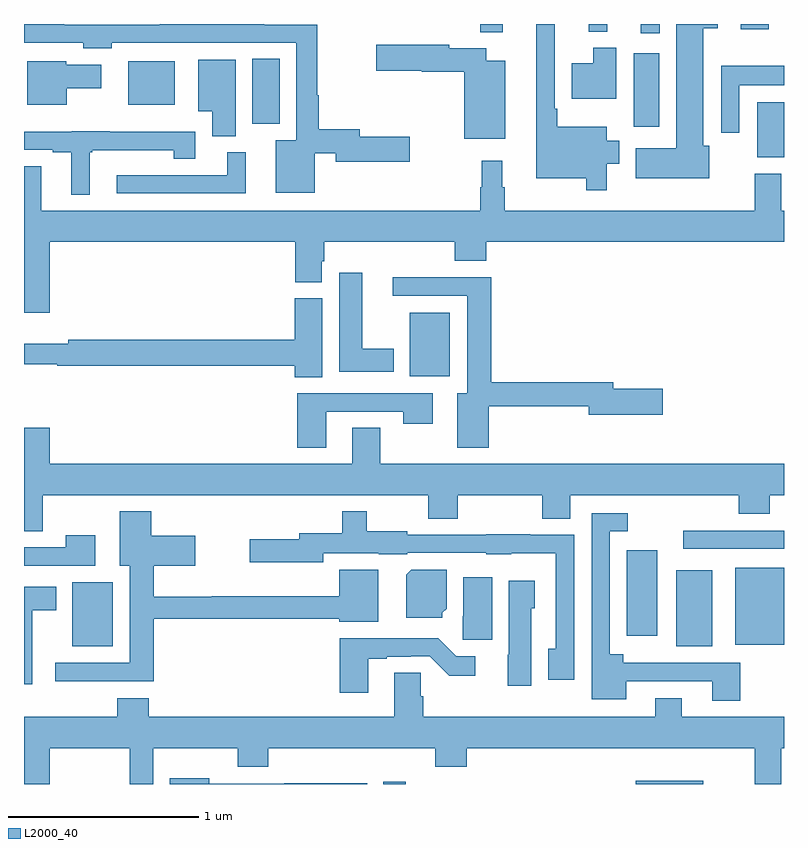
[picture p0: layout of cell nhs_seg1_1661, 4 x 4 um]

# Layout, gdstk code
import gdstk
lib = gdstk.Library(unit=1e-6, precision=1e-09)
def R(c, l, rs):  # rectangles x0, y0, x1, y1
    for r in rs: c.add(gdstk.rectangle(r[:2], r[2:], *l))
def P(c, l, *ps):  # polygons
    for p in ps: c.add(gdstk.Polygon(p, *l))
L2000_40 = (2000, 40)

nhs_seg1_1661 = lib.new_cell('nhs_seg1_1661')
R(nhs_seg1_1661, L2000_40, [(202.892,562.199,203.01,562.21), (204.219,562.199,204.574,562.216), (201.254,562.925,201.466,563.26), (204.434,562.925,204.622,563.323), (204.743,562.931,205,563.338), (204.173,562.98,204.334,563.428), (204.471,563.436,205,563.532), (203.03,564.344,203.242,564.679), (204.86,565.499,205,565.786), (204.209,565.659,204.343,566.044), (202.202,565.673,202.345,566.015), (201.548,565.775,201.793,566.002), (204.245,566.151,204.346,566.199), (203.401,566.156,203.519,566.199), (203.972,566.159,204.07,566.199), (204.773,566.172,204.921,566.199)])
P(nhs_seg1_1661, L2000_40, [(204.067,565.463),(204.133,565.463),(204.133,565.585),(204.067,565.585),(204.067,565.657),(203.806,565.657),(203.806,565.753),(203.793,565.753),(203.793,566.199),(203.696,566.199),(203.696,565.388),(203.958,565.388),(203.958,565.323),(204.067,565.323)],
  [(204.607,565.559),(204.574,565.559),(204.574,566.177),(204.652,566.177),(204.652,566.199),(204.434,566.199),(204.434,565.546),(204.219,565.546),(204.219,565.388),(204.607,565.388)],
  [(202.531,565.518),(202.64,565.518),(202.64,565.475),(203.029,565.475),(203.029,565.605),(202.768,565.605),(202.768,565.646),(202.55,565.646),(202.55,565.823),(202.543,565.823),(202.543,566.196),(202.265,566.196),(202.265,566.198),(201.715,566.198),(201.715,566.196),(201.212,566.196),(201.212,566.198),(201,566.198),(201,566.1),(201.312,566.1),(201.312,566.072),(201.462,566.072),(201.462,566.1),(202.434,566.1),(202.434,565.588),(202.325,565.588),(202.325,565.31),(202.531,565.31)],
  [(203.533,566.005),(203.434,566.005),(203.434,566.071),(203.238,566.071),(203.238,566.091),(202.854,566.091),(202.854,565.954),(203.094,565.954),(203.094,565.949),(203.318,565.949),(203.318,565.595),(203.533,565.595)],
  [(204.118,566.074),(203.996,566.074),(203.996,565.993),(203.882,565.993),(203.882,565.805),(204.118,565.805)],
  [(202.114,566.011),(201.917,566.011),(201.917,565.739),(201.992,565.739),(201.992,565.609),(202.114,565.609)],
  [(201.226,565.862),(201.406,565.862),(201.406,565.984),(201.222,565.984),(201.222,566.002),(201.017,566.002),(201.017,565.775),(201.226,565.775)],
  [(204.765,565.877),(205,565.877),(205,565.978),(204.669,565.978),(204.669,565.626),(204.765,565.626)],
  [(201.346,565.524),(201.358,565.524),(201.358,565.535),(201.788,565.535),(201.788,565.489),(201.901,565.489),(201.901,565.633),(201.452,565.633),(201.452,565.635),(201.252,565.635),(201.252,565.633),(201,565.633),(201,565.536),(201.152,565.536),(201.152,565.524),(201.248,565.524),(201.248,565.301),(201.346,565.301)],
  [(202.168,565.524),(202.07,565.524),(202.07,565.404),(201.489,565.404),(201.489,565.308),(202.168,565.308)],
  [(201.136,565.052),(202.427,565.052),(202.427,564.841),(202.567,564.841),(202.567,564.951),(202.58,564.951),(202.58,565.052),(203.267,565.052),(203.267,564.953),(203.432,564.953),(203.432,565.052),(205,565.052),(205,565.216),(204.985,565.216),(204.985,565.411),(204.845,565.411),(204.845,565.216),(203.53,565.216),(203.53,565.34),(203.518,565.34),(203.518,565.48),(203.409,565.48),(203.409,565.34),(203.401,565.34),(203.401,565.216),(201.091,565.216),(201.091,565.451),(201,565.451),(201,564.678),(201.136,564.678)],
  [(202.945,564.49),(202.78,564.49),(202.78,564.889),(202.658,564.889),(202.658,564.368),(202.945,564.368)],
  [(203.446,564.186),(203.972,564.186),(203.972,564.143),(204.361,564.143),(204.361,564.278),(204.1,564.278),(204.1,564.314),(203.459,564.314),(203.459,564.866),(202.941,564.866),(202.941,564.768),(203.333,564.768),(203.333,564.256),(203.279,564.256),(203.279,563.97),(203.446,563.97)],
  [(202.57,564.756),(202.424,564.756),(202.424,564.536),(201.232,564.536),(201.232,564.517),(201,564.517),(201,564.408),(201.176,564.408),(201.176,564.4),(202.424,564.4),(202.424,564.34),(202.57,564.34)],
  [(202.591,564.159),(202.996,564.159),(202.996,564.096),(203.152,564.096),(203.152,564.255),(202.439,564.255),(202.439,563.97),(202.591,563.97)],
  [(201.099,563.72),(203.128,563.72),(203.128,563.596),(203.283,563.596),(203.283,563.72),(203.728,563.72),(203.728,563.596),(203.875,563.596),(203.875,563.72),(204.761,563.72),(204.761,563.621),(204.926,563.621),(204.926,563.72),(205,563.72),(205,563.884),(202.875,563.884),(202.875,564.074),(202.727,564.074),(202.727,563.884),(201.136,563.884),(201.136,564.073),(201,564.073),(201,563.53),(201.099,563.53)],
  [(203.895,563.511),(203.665,563.511),(203.665,563.513),(203.433,563.513),(203.433,563.511),(203.016,563.511),(203.016,563.53),(202.804,563.53),(202.804,563.635),(202.675,563.635),(202.675,563.519),(202.448,563.519),(202.448,563.488),(202.188,563.488),(202.188,563.366),(202.576,563.366),(202.576,563.414),(202.866,563.414),(202.866,563.408),(203.016,563.408),(203.016,563.415),(203.433,563.415),(203.433,563.408),(203.565,563.408),(203.565,563.414),(203.799,563.414),(203.799,562.91),(203.759,562.91),(203.759,562.749),(203.895,562.749)],
  [(201.683,563.068),(202.658,563.068),(202.658,563.054),(202.864,563.054),(202.864,563.326),(202.658,563.326),(202.658,563.186),(201.988,563.186),(201.988,563.185),(201.683,563.185),(201.683,563.348),(201.901,563.348),(201.901,563.506),(201.67,563.506),(201.67,563.635),(201.503,563.635),(201.503,563.348),(201.557,563.348),(201.557,562.836),(201.165,562.836),(201.165,562.739),(201.683,562.739)],
  [(204.771,562.836),(204.154,562.836),(204.154,562.882),(204.084,562.882),(204.084,563.529),(204.178,563.529),(204.178,563.625),(203.988,563.625),(203.988,562.646),(204.169,562.646),(204.169,562.74),(204.623,562.74),(204.623,562.638),(204.771,562.638)],
  [(201.376,563.509),(201.22,563.509),(201.22,563.445),(201,563.445),(201,563.349),(201.376,563.349)],
  [(203.202,563.1),(203.224,563.122),(203.224,563.326),(203.038,563.326),(203.012,563.3),(203.012,563.075),(203.202,563.075)],
  [(203.464,563.287),(203.312,563.287),(203.312,563.082),(203.308,563.082),(203.308,562.959),(203.464,562.959)],
  [(203.671,563.124),(203.689,563.124),(203.689,563.269),(203.552,563.269),(203.552,562.878),(203.546,562.878),(203.546,562.716),(203.671,562.716)],
  [(201.043,563.114),(201.169,563.114),(201.169,563.236),(201,563.236),(201,562.724),(201.043,562.724)],
  [(202.813,562.857),(202.909,562.857),(202.909,562.869),(203.036,562.869),(203.036,562.872),(203.136,562.872),(203.239,562.77),(203.374,562.77),(203.374,562.872),(203.274,562.872),(203.18,562.966),(202.661,562.966),(202.661,562.68),(202.813,562.68)],
  [(201.136,562.388),(201.556,562.388),(201.556,562.199),(201.679,562.199),(201.679,562.388),(202.126,562.388),(202.126,562.289),(202.286,562.289),(202.286,562.388),(203.165,562.388),(203.165,562.289),(203.33,562.289),(203.33,562.388),(204.845,562.388),(204.845,562.199),(204.985,562.199),(204.985,562.388),(205,562.388),(205,562.552),(204.463,562.552),(204.463,562.651),(204.323,562.651),(204.323,562.552),(203.102,562.552),(203.102,562.662),(203.088,562.662),(203.088,562.784),(202.949,562.784),(202.949,562.552),(201.656,562.552),(201.656,562.651),(201.491,562.651),(201.491,562.552),(201,562.552),(201,562.199),(201.136,562.199)],
  [(202.807,562.202),(202.369,562.202),(202.369,562.2),(201.975,562.2),(201.975,562.228),(201.768,562.228),(201.768,562.199),(202.807,562.199)])

lib.write_gds('nhs_seg1_1661.gds')
